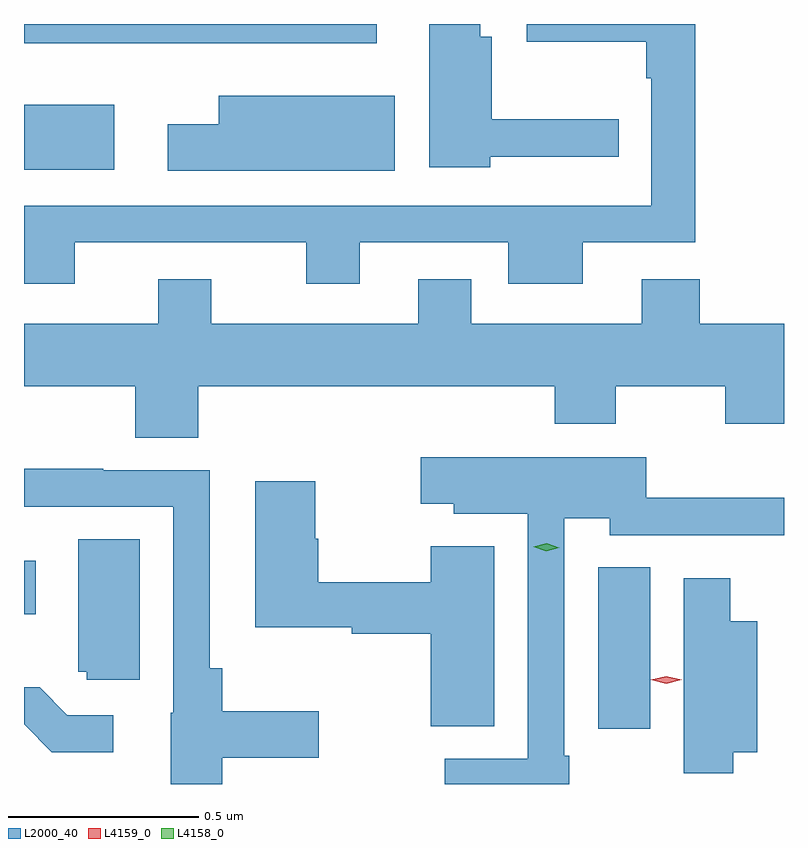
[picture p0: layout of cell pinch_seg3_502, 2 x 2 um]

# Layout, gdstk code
import gdstk
lib = gdstk.Library(unit=1e-6, precision=1e-09)
def R(c, l, rs):  # rectangles x0, y0, x1, y1
    for r in rs: c.add(gdstk.rectangle(r[:2], r[2:], *l))
def P(c, l, *ps):  # polygons
    for p in ps: c.add(gdstk.Polygon(p, *l))
L2000_40 = (2000, 40)
L4158_0 = (4158, 0)
L4159_0 = (4159, 0)

pinch_seg3_502 = lib.new_cell('pinch_seg3_502')
R(pinch_seg3_502, L2000_40, [(988.979,666.714,989.116,667.139), (987.468,667.016,987.499,667.156), (987.468,668.186,987.706,668.356), (987.468,668.519,988.396,668.569)])
P(pinch_seg3_502, L2000_40, [(988.695,668.22),(989.033,668.22),(989.033,668.318),(988.699,668.318),(988.699,668.536),(988.669,668.536),(988.669,668.569),(988.535,668.569),(988.535,668.192),(988.695,668.192)],
  [(987.601,667.995),(988.211,667.995),(988.211,667.886),(988.351,667.886),(988.351,667.995),(988.742,667.995),(988.742,667.886),(988.939,667.886),(988.939,667.995),(989.234,667.995),(989.234,668.569),(988.791,668.569),(988.791,668.522),(989.106,668.522),(989.106,668.426),(989.118,668.426),(989.118,668.091),(987.468,668.091),(987.468,667.886),(987.601,667.886)],
  [(988.444,668.38),(987.98,668.38),(987.98,668.305),(987.846,668.305),(987.846,668.183),(988.444,668.183)],
  [(987.926,667.616),(988.865,667.616),(988.865,667.517),(989.025,667.517),(989.025,667.616),(989.314,667.616),(989.314,667.517),(989.468,667.517),(989.468,667.78),(989.246,667.78),(989.246,667.897),(989.093,667.897),(989.093,667.78),(988.645,667.78),(988.645,667.897),(988.505,667.897),(988.505,667.78),(987.961,667.78),(987.961,667.897),(987.821,667.897),(987.821,667.78),(987.468,667.78),(987.468,667.616),(987.761,667.616),(987.761,667.48),(987.926,667.48)],
  [(988.903,666.643),(988.89,666.643),(988.89,667.268),(989.01,667.268),(989.01,667.224),(989.468,667.224),(989.468,667.322),(989.106,667.322),(989.106,667.429),(988.512,667.429),(988.512,667.307),(988.599,667.307),(988.599,667.28),(988.794,667.28),(988.794,666.636),(988.575,666.636),(988.575,666.569),(988.903,666.569)],
  [(987.99,666.638),(988.243,666.638),(988.243,666.76),(987.99,666.76),(987.99,666.874),(987.957,666.874),(987.957,667.395),(987.677,667.395),(987.677,667.398),(987.468,667.398),(987.468,667.299),(987.861,667.299),(987.861,666.756),(987.854,666.756),(987.854,666.569),(987.99,666.569)],
  [(988.705,667.195),(988.538,667.195),(988.538,667.1),(988.242,667.1),(988.242,667.215),(988.234,667.215),(988.234,667.366),(988.076,667.366),(988.076,666.982),(988.33,666.982),(988.33,666.964),(988.538,666.964),(988.538,666.721),(988.705,666.721)],
  [(987.772,667.213),(987.611,667.213),(987.611,666.864),(987.633,666.864),(987.633,666.843),(987.772,666.843)],
  [(989.334,666.653),(989.398,666.653),(989.398,666.997),(989.326,666.997),(989.326,667.111),(989.204,667.111),(989.204,666.597),(989.334,666.597)],
  [(987.703,666.75),(987.582,666.75),(987.509,666.823),(987.468,666.823),(987.468,666.726),(987.541,666.653),(987.703,666.653)])
P(pinch_seg3_502, L4158_0, [(988.842,667.182),(988.808,667.193),(988.807,667.193),(988.808,667.193),(988.843,667.202),(988.877,667.191),(988.877,667.191),(988.877,667.191)])
P(pinch_seg3_502, L4159_0, [(989.158,666.833),(989.117,666.843),(989.117,666.843),(989.117,666.844),(989.158,666.853),(989.199,666.843),(989.199,666.843),(989.199,666.843)])

lib.write_gds('pinch_seg3_502.gds')
